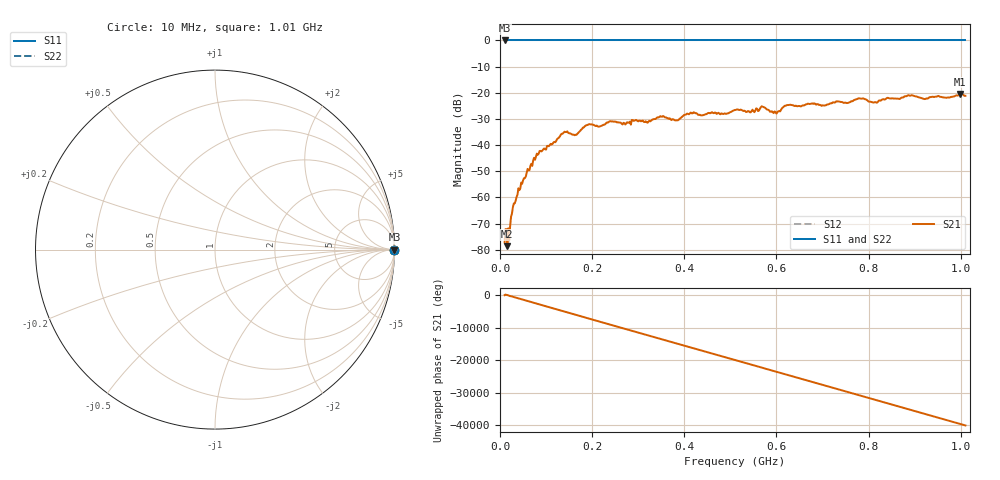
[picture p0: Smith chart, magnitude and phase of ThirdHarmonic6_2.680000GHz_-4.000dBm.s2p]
! 8/17/2025 6:17:27 AM
! C:\ANRITSUVNA\TEMP\TEMP.S2P
! CHANNEL.1
! TR.MEASUREMENT
! RAW.DATA
! RF.CORRECTION.OFF
! AVERAGING.OFF
! IF.BANDWIDTH: 5KHZ
! SWEEPTYPE:  FREQ.SWEEP(Linear)
! Reference Plane Port Info
! PORT:  PORT1  PORT2
! DISTANCE:  0  m  0  m
! TIME:  0  s  0  s
! PHASE.OFFSET:  0  deg.  0  deg.
! LOSS:  0  dB  0  dB
! REF.LOSS:  0  dB  0  dB
! REF.FREQ:  0  Hz  0  Hz
! Power Info
! POWER:  -20  dBm  -20  dBm
! EFF.POWER:  -20  dBm  -20  dBm
! SOURCE.ATTEN:  0  dB  0  dB
! TEST.ATTEN:  0  dB  0  dB
# GHZ S RI R 50.0
! FREQ.GHZ  S11RE  S11IM  S21RE  S21IM  S12RE  S12IM  S22RE  S22IM
!; PortSelection: Port_12
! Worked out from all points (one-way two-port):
!   501 points, 10 MHz to 1.01 GHz, reference 50 ohm
!   highest |S21| = -20.46 dB at 998 MHz (marker M1); lowest = -78.6 dB at 16 MHz (marker M2)
!   lowest |S11| = 0.0 dB at 10 MHz (marker M3)
!   |S11| at or under -10 dB: nowhere
!   |S22| runs from 0.0 to 0.0 dB; largest |S21 - S12| = 1.1
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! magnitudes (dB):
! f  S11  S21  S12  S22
! 10 MHz  0.0  -77.3  0.0  0.0
! 16 MHz  0.0  -78.6  0.0  0.0
! 20 MHz  0.0  -76.4  0.0  0.0
! 28 MHz  0.0  -63.7  0.0  0.0
! 42 MHz  0.0  -57.2  0.0  0.0
! 76 MHz  0.0  -45.6  0.0  0.0
! 136 MHz  0.0  -35.6  0.0  0.0
! 164 MHz  0.0  -36.1  0.0  0.0
! 178 MHz  0.0  -33.8  0.0  0.0
! 194 MHz  0.0  -32.0  0.0  0.0
! 318 MHz  0.0  -31.2  0.0  0.0
! 344 MHz  0.0  -29.4  0.0  0.0
! 384 MHz  0.0  -30.5  0.0  0.0
! 418 MHz  0.0  -27.9  0.0  0.0
! 510 MHz  0.0  -26.6  0.0  0.0
! 570 MHz  0.0  -25.3  0.0  0.0
! 598 MHz  0.0  -27.4  0.0  0.0
! 622 MHz  0.0  -24.8  0.0  0.0
! 678 MHz  0.0  -24.1  0.0  0.0
! 844 MHz  0.0  -22.1  0.0  0.0
! 998 MHz  0.0  -20.5  0.0  0.0
! 1.01 GHz  0.0  -21.2  0.0  0.0
